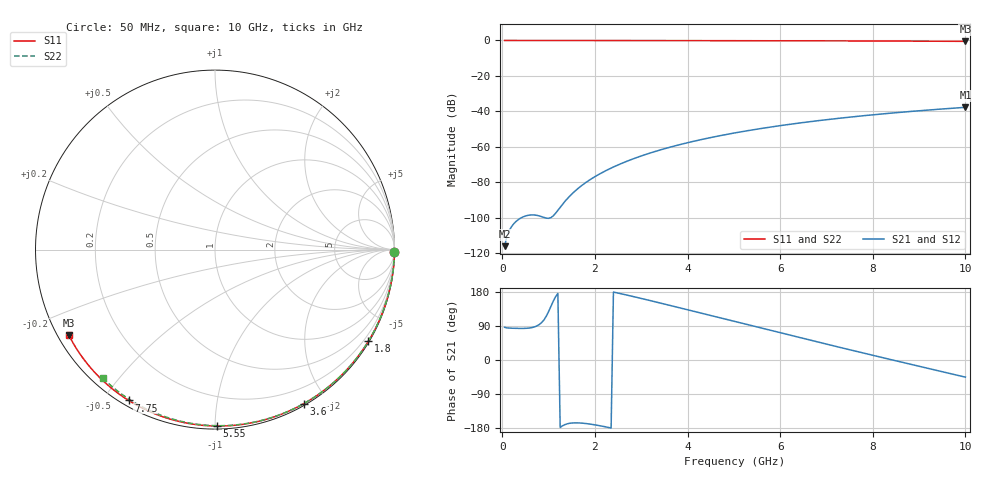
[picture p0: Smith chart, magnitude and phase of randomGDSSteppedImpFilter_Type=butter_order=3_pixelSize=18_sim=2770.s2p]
! freq	dB(S11)	phase(S11)	dB(S12)	phase(S12)
!  dB(S21)	phase(S21)	dB(S22)	phase(S22)
!S-par simulation data
#  GHz  S  DB  R 50
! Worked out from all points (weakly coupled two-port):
!   200 points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, 50 MHz to 10 GHz, reference 50 ohm
!   highest |S21| = -37.77 dB at 10 GHz (marker M1); lowest = -116.2 dB at 50 MHz (marker M2)
!   lowest |S11| = -0.5 dB at 10 GHz (marker M3), VSWR 34.40, Z = 1.56 - j13.5 ohm
!   |S11| at or under -10 dB: nowhere
!   |S22| runs from -0.4 to 0.0 dB; largest |S21 - S12| = 0
!   S11 on the Smith chart (normalised r, x): 50 MHz: open; 1.8 GHz: 0.03, -3.63; 3.6 GHz: 0.02, -1.73; 5.55 GHz: 0.02, -1.01; 7.75 GHz: 0.02, -0.58; 10 GHz: 0.03, -0.27
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0.05  -0.00 -0.9  -116.17 86.3  -116.17 86.3  -0.00 -0.8
0.45  -0.01 -7.8  -99.61 83.3  -99.61 83.3  -0.01 -6.8
0.9  -0.02 -15.6  -99.97 105.9  -99.97 105.9  -0.02 -13.6
1.3  -0.03 -22.4  -92.54 -173.7  -92.54 -173.7  -0.02 -19.5
1.75  -0.04 -30.0  -81.23 -166.9  -81.23 -166.9  -0.03 -26.1
1.8  -0.04 -30.8  -80.29 -167.6  -80.29 -167.6  -0.03 -26.9
1.85  -0.04 -31.6  -79.39 -168.4  -79.39 -168.4  -0.04 -27.6
2  -0.04 -34.1  -76.91 -171.1  -76.91 -171.1  -0.04 -29.8
2.15  -0.05 -36.6  -74.70 -174.5  -74.70 -174.5  -0.04 -32.0
2.5  -0.05 -42.4  -70.28 176.6  -70.28 176.6  -0.05 -37.0
2.9  -0.06 -48.9  -66.14 165.4  -66.14 165.4  -0.06 -42.7
3.4  -0.08 -56.9  -61.90 150.7  -61.90 150.7  -0.07 -49.8
3.6  -0.08 -60.0  -60.42 144.7  -60.42 144.7  -0.07 -52.5
4.3  -0.10 -70.8  -55.95 123.4  -55.95 123.4  -0.09 -62.1
5.05  -0.13 -82.1  -52.07 100.6  -52.07 100.6  -0.11 -72.0
5.55  -0.15 -89.3  -49.87 85.4  -49.87 85.4  -0.13 -78.5
6.1  -0.17 -97.2  -47.74 68.8  -47.74 68.8  -0.15 -85.4
6.7  -0.21 -105.5  -45.68 50.8  -45.68 50.8  -0.18 -92.8
7.75  -0.28 -119.8  -42.63 19.7  -42.63 19.7  -0.24 -105.4
8.35  -0.33 -127.8  -41.14 2.2  -41.14 2.2  -0.29 -112.4
9.2  -0.41 -139.1  -39.29 -22.3  -39.29 -22.3  -0.36 -122.1
10  -0.51 -149.8  -37.77 -45.2  -37.77 -45.2  -0.44 -131.1
